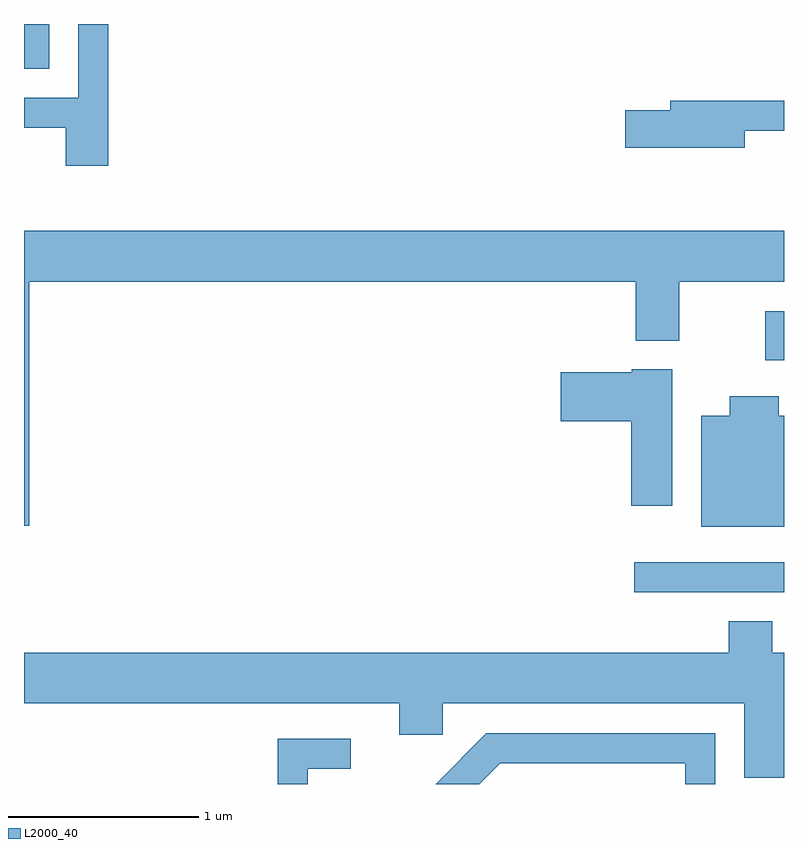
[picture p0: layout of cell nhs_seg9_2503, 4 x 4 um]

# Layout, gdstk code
import gdstk
lib = gdstk.Library(unit=1e-6, precision=1e-09)
def R(c, l, rs):  # rectangles x0, y0, x1, y1
    for r in rs: c.add(gdstk.rectangle(r[:2], r[2:], *l))
def P(c, l, *ps):  # polygons
    for p in ps: c.add(gdstk.Polygon(p, *l))
L2000_40 = (2000, 40)

nhs_seg9_2503 = lib.new_cell('nhs_seg9_2503')
R(nhs_seg9_2503, L2000_40, [(260.823,2063.441,261.611,2063.599), (261.511,2064.661,261.611,2064.919), (257.611,2066.196,257.744,2066.432)])
P(nhs_seg9_2503, L2000_40, [(258.054,2066.432),(257.896,2066.432),(257.896,2066.044),(257.611,2066.044),(257.611,2065.886),(257.831,2065.886),(257.831,2065.686),(258.054,2065.686)],
  [(261.404,2065.871),(261.611,2065.871),(261.611,2066.029),(261.011,2066.029),(261.011,2065.979),(260.776,2065.979),(260.776,2065.781),(261.404,2065.781)],
  [(257.639,2065.076),(260.831,2065.076),(260.831,2064.766),(261.059,2064.766),(261.059,2065.076),(261.611,2065.076),(261.611,2065.344),(257.611,2065.344),(257.611,2063.791),(257.639,2063.791)],
  [(261.024,2064.614),(260.81,2064.614),(260.81,2064.599),(260.436,2064.599),(260.436,2064.341),(260.806,2064.341),(260.806,2063.896),(261.024,2063.896)],
  [(261.611,2064.369),(261.584,2064.369),(261.584,2064.474),(261.326,2064.474),(261.326,2064.369),(261.176,2064.369),(261.176,2063.786),(261.611,2063.786)],
  [(261.611,2063.124),(261.549,2063.124),(261.549,2063.289),(261.321,2063.289),(261.321,2063.124),(257.611,2063.124),(257.611,2062.856),(259.586,2062.856),(259.586,2062.691),(259.814,2062.691),(259.814,2062.856),(261.401,2062.856),(261.401,2062.466),(261.611,2062.466)],
  [(260.117,2062.541),(261.091,2062.541),(261.091,2062.432),(261.249,2062.432),(261.249,2062.699),(260.044,2062.699),(259.777,2062.432),(260.007,2062.432)],
  [(259.104,2062.511),(259.332,2062.511),(259.332,2062.669),(258.946,2062.669),(258.946,2062.432),(259.104,2062.432)])

lib.write_gds('nhs_seg9_2503.gds')
